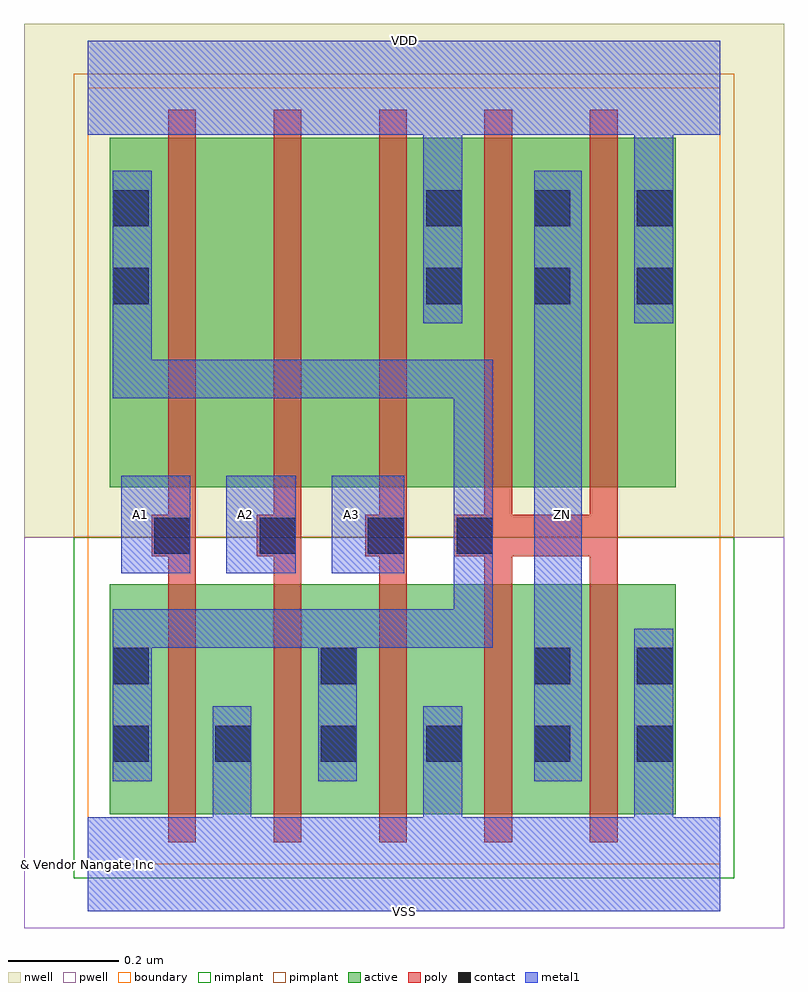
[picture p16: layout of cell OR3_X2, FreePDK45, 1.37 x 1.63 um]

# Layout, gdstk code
import gdstk
lib = gdstk.Library(unit=1e-6, precision=1e-10)
def R(c, l, rs):  # rectangles x0, y0, x1, y1
    for r in rs: c.add(gdstk.rectangle(r[:2], r[2:], *l))
def A(c, l, x, y, w, h, nx, ny, dx, dy):  # array of equal rectangles
    R(c, l, [(x+i*dx, y+j*dy, x+i*dx+w, y+j*dy+h) for i in range(nx) for j in range(ny)])
def P(c, l, *ps):  # polygons
    for p in ps: c.add(gdstk.Polygon(p, *l))
active = (1, 0)
pwell = (2, 0)
nwell = (3, 0)
nimplant = (4, 0)
pimplant = (5, 0)
poly = (9, 0)
contact = (10, 0)
metal1 = (11, 0)
boundary = (235, 0)

or3_x2 = lib.new_cell('OR3_X2')
R(or3_x2, active, [(0.04,0.09,1.06,0.505), (0.04,0.68,1.06,1.31)])
R(or3_x2, pwell, [(-0.115,-0.115,1.255,0.59)])
R(or3_x2, nwell, [(-0.115,0.59,1.255,1.515)])
R(or3_x2, nimplant, [(-0.025,-0.025,1.165,0.59)])
R(or3_x2, pimplant, [(-0.025,0.59,1.165,1.425)])
P(or3_x2, poly, [(0.145,0.04),(0.145,0.555),(0.115,0.555),(0.115,0.63),(0.145,0.63),(0.145,1.36),(0.195,1.36),(0.195,0.04)],
  [(0.335,0.04),(0.335,0.555),(0.305,0.555),(0.305,0.63),(0.335,0.63),(0.335,1.36),(0.385,1.36),(0.385,0.04)],
  [(0.525,0.04),(0.525,0.555),(0.5,0.555),(0.5,0.63),(0.525,0.63),(0.525,1.36),(0.575,1.36),(0.575,0.04)],
  [(0.715,0.04),(0.715,0.555),(0.66,0.555),(0.66,0.63),(0.715,0.63),(0.715,1.36),(0.765,1.36),(0.765,0.63),(0.905,0.63),(0.905,1.36),(0.955,1.36),(0.955,0.04),(0.905,0.04),(0.905,0.555),(0.765,0.555),(0.765,0.04)])
A(or3_x2, contact, 0.23, 0.185, 0.065, 0.065, 3, 1, 0.19, 0)
R(or3_x2, contact, [(0.045,0.185,0.11,0.25), (0.805,0.185,0.87,0.25), (0.99,0.185,1.055,0.25), (0.045,0.325,0.11,0.39), (0.42,0.325,0.485,0.39), (0.805,0.325,0.87,0.39), (0.99,0.325,1.055,0.39), (0.12,0.56,0.185,0.625), (0.31,0.56,0.375,0.625), (0.505,0.56,0.57,0.625), (0.665,0.56,0.73,0.625), (0.045,1.01,0.11,1.075), (0.61,1.01,0.675,1.075), (0.805,1.01,0.87,1.075), (0.99,1.01,1.055,1.075), (0.045,1.15,0.11,1.215), (0.61,1.15,0.675,1.215), (0.805,1.15,0.87,1.215), (0.99,1.15,1.055,1.215)])
R(or3_x2, metal1, [(0.805,0.15,0.89,1.25), (0.06,0.525,0.185,0.7), (0.25,0.525,0.375,0.7), (0.44,0.525,0.57,0.7)])
P(or3_x2, metal1, [(0.045,0.15),(0.045,0.46),(0.66,0.46),(0.66,0.84),(0.045,0.84),(0.045,1.25),(0.115,1.25),(0.115,0.91),(0.73,0.91),(0.73,0.39),(0.485,0.39),(0.485,0.15),(0.415,0.15),(0.415,0.39),(0.115,0.39),(0.115,0.15)],
  [(0,-0.085),(0,0.085),(0.225,0.085),(0.225,0.285),(0.295,0.285),(0.295,0.085),(0.605,0.085),(0.605,0.285),(0.675,0.285),(0.675,0.085),(0.985,0.085),(0.985,0.425),(1.055,0.425),(1.055,0.085),(1.14,0.085),(1.14,-0.085)],
  [(0.605,0.975),(0.605,1.315),(0,1.315),(0,1.485),(1.14,1.485),(1.14,1.315),(1.055,1.315),(1.055,0.975),(0.985,0.975),(0.985,1.315),(0.675,1.315),(0.675,0.975)])
R(or3_x2, boundary, [(0,0,1.14,1.4)])
or3_x2.add(gdstk.Label('A1', (0.095,0.63), layer=11, texttype=0))
or3_x2.add(gdstk.Label('A2', (0.285,0.63), layer=11, texttype=0))
or3_x2.add(gdstk.Label('A3', (0.475,0.63), layer=11, texttype=0))
or3_x2.add(gdstk.Label('VDD', (0.57,1.485), layer=11, texttype=0))
or3_x2.add(gdstk.Label('VSS', (0.57,-0.085), layer=11, texttype=0))
or3_x2.add(gdstk.Label('ZN', (0.855,0.63), layer=11, texttype=0))
or3_x2.add(gdstk.Label('& Vendor Nangate Inc', (0,0), layer=63, texttype=63))
or3_x2.add(gdstk.Label('& Product Open Cell Library', (0,0), layer=63, texttype=63))
or3_x2.add(gdstk.Label('& Version 2010_12', (0,0), layer=63, texttype=63))
or3_x2.add(gdstk.Label('& Instance OR3_X2', (0,0), layer=63, texttype=63))

lib.write_gds('OR3_X2.gds')
